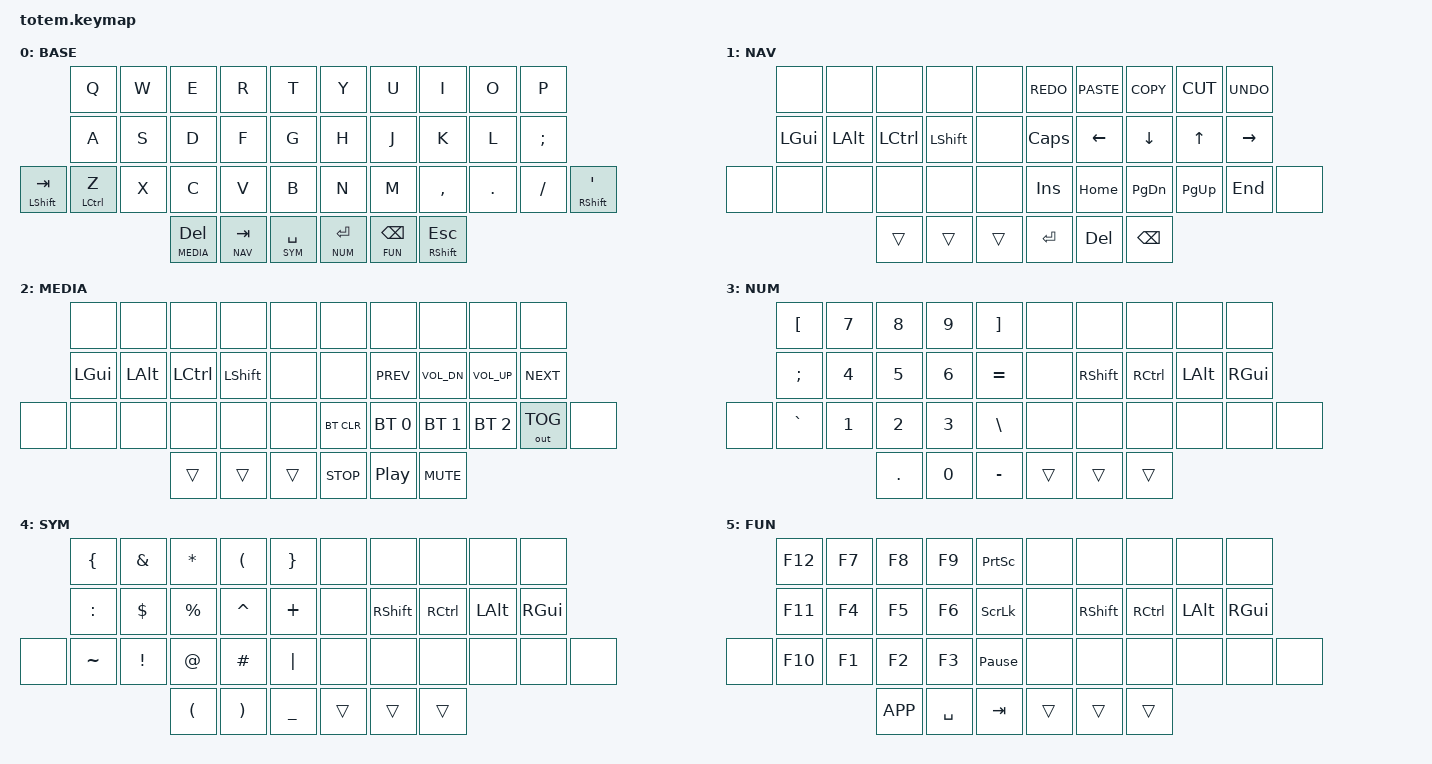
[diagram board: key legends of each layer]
//
//                                                        ▀▀▀▀▀     ▀▀▀▀▀          ▀▀█▀▀
//                                                        ▄▀▀▀▄  ▄  ▄▀▀▀▄  ▄  ▄▀▀▀▄  █  ▄▀▀▀▄
//                                                        █   █  █  █   █  █  █   █  █  █   █
//                                                         ▀▀▀   █   ▀▀▀   █   ▀▀▀   ▀   ▀▀▀
//                                                               █      ▄▄▄█▄▄▄    █   █  
//                                                               ▀      █  █  █     █▄█
//                                                             ▀▀▀▀▀    █  █  █      ▀
//                                                                      ▀  ▀  ▀
//
// ▄▄▄▄▄▄▄▄▄▄▄▄▄▄▄▄▄▄▄▄▄▄▄▄▄▄▄▄▄▄▄▄▄▄▄▄▄▄▄▄▄▄▄▄▄▄▄▄▄▄▄▄▄▄▄▄▄▄▄▄▄▄▄▄▄▄▄▄▄▄▄▄▄▄▄▄▄▄▄▄▄▄▄▄▄▄▄▄▄▄▄▄▄▄▄▄▄▄▄▄▄▄▄▄▄▄▄▄▄▄▄▄▄▄▄▄▄▄▄▄▄▄▄▄▄▄▄▄▄▄▄▄▄▄▄▄▄▄▄▄▄▄▄▄▄▄▄▄▄


#include <behaviors.dtsi>
#include <dt-bindings/zmk/keys.h>
#include <dt-bindings/zmk/bt.h>
#include <dt-bindings/zmk/outputs.h>

// Layer indices
#define BASE  0
#define NAV   1
#define MEDIA 2
#define NUM   3
#define SYM   4
#define FUN   5

/ {
    keymap {
        compatible = "zmk,keymap";
// ▄▄▄▄▄▄▄▄▄▄▄▄▄▄▄▄▄▄▄▄▄▄▄▄▄▄▄▄▄▄▄▄▄▄▄▄▄▄▄▄▄▄▄▄▄▄▄▄▄▄▄▄▄▄▄▄▄▄▄▄▄▄▄▄▄▄▄▄▄▄▄▄▄▄▄▄▄▄▄▄▄▄▄▄▄▄▄▄▄▄▄▄▄▄▄▄▄▄▄▄▄▄▄▄▄▄▄▄▄▄▄▄▄▄▄▄▄▄▄▄▄▄▄▄▄▄▄▄▄▄▄▄▄▄▄▄▄▄▄▄▄▄▄▄▄▄▄▄▄

// ┏━━━━━━━━━━━━━━━━━━━━━━━━━━━━━━━━━━━━━━━┓
// label= "BASE" (QWERTY)                  ;
// ┗━━━━━━━━━━━━━━━━━━━━━━━━━━━━━━━━━━━━━━━┛
//             ┏━━━━━━━━━━━┳━━━━━━━━━━━┳━━━━━━━━━━━┳━━━━━━━━━━━┳━━━━━━━━━━━┓   ┏━━━━━━━━━━━┳━━━━━━━━━━━┳━━━━━━━━━━━┳━━━━━━━━━━━┳━━━━━━━━━━━┓
//             ┃     Q     ┃     W     ┃     E     ┃     R     ┃     T     ┃   ┃     Y     ┃     U     ┃     I     ┃     O     ┃     P     ┃
//             ┣━━━━━━━━━━━╋━━━━━━━━━━━╋━━━━━━━━━━━╋━━━━━━━━━━━╋━━━━━━━━━━━┫   ┣━━━━━━━━━━━╋━━━━━━━━━━━╋━━━━━━━━━━━╋━━━━━━━━━━━╋━━━━━━━━━━━┫
//             ┃     A     ┃     S     ┃     D     ┃     F     ┃     G     ┃   ┃     H     ┃     J     ┃     K     ┃     L     ┃     ;     ┃
// ┏━━━━━━━━━━━╋━━━━━━━━━━━╋━━━━━━━━━━━╋━━━━━━━━━━━╋━━━━━━━━━━━╋━━━━━━━━━━━┫   ┣━━━━━━━━━━━╋━━━━━━━━━━━╋━━━━━━━━━━━╋━━━━━━━━━━━╋━━━━━━━━━━━╋━━━━━━━━━━━┓
// ┃  SFT/TAB  ┃  CTL/Z    ┃     X     ┃     C     ┃     V     ┃     B     ┃   ┃     N     ┃     M     ┃     ,     ┃     .     ┃     /     ┃  SFT/SQT  ┃
// ┗━━━━━━━━━━━┻━━━━━━━━━━━┻━━━━━━━━━━━╋━━━━━━━━━━━╋━━━━━━━━━━━╋━━━━━━━━━━━┫   ┣━━━━━━━━━━━╋━━━━━━━━━━━╋━━━━━━━━━━━╋━━━━━━━━━━━┻━━━━━━━━━━━┻━━━━━━━━━━━┛
//                                     ┃ MEDIA/DEL ┃  NAV/TAB  ┃  SYM/SPC  ┃   ┃  NUM/ENT  ┃ FUN/BSPC  ┃ SHIFT/ESC ┃
//                                     ┗━━━━━━━━━━━┻━━━━━━━━━━━┻━━━━━━━━━━━┛   ┗━━━━━━━━━━━┻━━━━━━━━━━━┻━━━━━━━━━━━┛
        base_layer {
            label = "BASE";
            bindings = <
                                      &kp Q      &kp W      &kp E      &kp R      &kp T          &kp Y      &kp U      &kp I      &kp O      &kp P
                                      &kp A      &kp S      &kp D      &kp F      &kp G          &kp H      &kp J      &kp K      &kp L      &kp SEMI
             &mt LEFT_SHIFT TAB  &mt LCTRL Z      &kp X      &kp C      &kp V      &kp B          &kp N      &kp M      &kp COMMA  &kp DOT    &kp FSLH      &mt RIGHT_SHIFT SQT
                                      &lt MEDIA DEL &lt NAV TAB &lt SYM SPC      &lt NUM RET &lt FUN BSPC &mt RSHIFT ESC
            >;
        };

// ▄▄▄▄▄▄▄▄▄▄▄▄▄▄▄▄▄▄▄▄▄▄▄▄▄▄▄▄▄▄▄▄▄▄▄▄▄▄▄▄▄▄▄▄▄▄▄▄▄▄▄▄▄▄▄▄▄▄▄▄▄▄▄▄▄▄▄▄▄▄▄▄▄▄▄▄▄▄▄▄▄▄▄▄▄▄▄▄▄▄▄▄▄▄▄▄▄▄▄▄▄▄▄▄▄▄▄▄▄▄▄▄▄▄▄▄▄▄▄▄▄▄▄▄▄▄▄▄▄▄▄▄▄▄▄▄▄▄▄▄▄▄▄▄▄▄▄▄▄

// ┏━━━━━━━━━━━━━━━━━━━━━━━━━━━━━━━━━━━━━━━┓
// label= "NAV"                            ;
// ┗━━━━━━━━━━━━━━━━━━━━━━━━━━━━━━━━━━━━━━━┛
//             ┏━━━━━━━━━━━┳━━━━━━━━━━━┳━━━━━━━━━━━┳━━━━━━━━━━━┳━━━━━━━━━━━┓   ┏━━━━━━━━━━━┳━━━━━━━━━━━┳━━━━━━━━━━━┳━━━━━━━━━━━┳━━━━━━━━━━━┓
//             ┃           ┃           ┃           ┃           ┃           ┃   ┃   REDO    ┃   PASTE   ┃   COPY    ┃    CUT    ┃   UNDO    ┃
//             ┣━━━━━━━━━━━╋━━━━━━━━━━━╋━━━━━━━━━━━╋━━━━━━━━━━━╋━━━━━━━━━━━┫   ┣━━━━━━━━━━━╋━━━━━━━━━━━╋━━━━━━━━━━━╋━━━━━━━━━━━╋━━━━━━━━━━━┫
//             ┃    GUI    ┃    ALT    ┃    CTRL   ┃   SHIFT   ┃           ┃   ┃   CAPS    ┃   LEFT    ┃   DOWN    ┃    UP     ┃   RIGHT   ┃
// ┏━━━━━━━━━━━╋━━━━━━━━━━━╋━━━━━━━━━━━╋━━━━━━━━━━━╋━━━━━━━━━━━╋━━━━━━━━━━━┫   ┣━━━━━━━━━━━╋━━━━━━━━━━━╋━━━━━━━━━━━╋━━━━━━━━━━━╋━━━━━━━━━━━╋━━━━━━━━━━━┓
// ┃           ┃           ┃           ┃           ┃           ┃           ┃   ┃    INS    ┃   HOME    ┃   PG_DN   ┃   PG_UP   ┃    END    ┃           ┃
// ┗━━━━━━━━━━━┻━━━━━━━━━━━┻━━━━━━━━━━━╋━━━━━━━━━━━╋━━━━━━━━━━━╋━━━━━━━━━━━┫   ┣━━━━━━━━━━━╋━━━━━━━━━━━╋━━━━━━━━━━━╋━━━━━━━━━━━┻━━━━━━━━━━━┻━━━━━━━━━━━┛
//                                     ┃           ┃           ┃           ┃   ┃   ENTER   ┃    DEL    ┃   BSPC    ┃
//                                     ┗━━━━━━━━━━━┻━━━━━━━━━━━┻━━━━━━━━━━━┛   ┗━━━━━━━━━━━┻━━━━━━━━━━━┻━━━━━━━━━━━┛
        nav_layer {
            label = "NAV";
            bindings = <
                &none        &none        &none        &none        &none              &kp K_REDO   &kp K_PASTE  &kp K_COPY   &kp K_CUT    &kp K_UNDO
                &kp LGUI     &kp LALT     &kp LCTRL    &kp LSHFT    &none              &kp CAPS     &kp LEFT     &kp DOWN     &kp UP       &kp RIGHT
    &none       &none        &none        &none        &none        &none              &kp INS      &kp HOME     &kp PG_DN    &kp PG_UP    &kp END      &none
                                          &trans       &trans       &trans             &kp RET      &kp DEL      &kp BSPC
            >;
        };

// ▄▄▄▄▄▄▄▄▄▄▄▄▄▄▄▄▄▄▄▄▄▄▄▄▄▄▄▄▄▄▄▄▄▄▄▄▄▄▄▄▄▄▄▄▄▄▄▄▄▄▄▄▄▄▄▄▄▄▄▄▄▄▄▄▄▄▄▄▄▄▄▄▄▄▄▄▄▄▄▄▄▄▄▄▄▄▄▄▄▄▄▄▄▄▄▄▄▄▄▄▄▄▄▄▄▄▄▄▄▄▄▄▄▄▄▄▄▄▄▄▄▄▄▄▄▄▄▄▄▄▄▄▄▄▄▄▄▄▄▄▄▄▄▄▄▄▄▄▄

// ┏━━━━━━━━━━━━━━━━━━━━━━━━━━━━━━━━━━━━━━━┓
// label= "MEDIA"                          ;
// ┗━━━━━━━━━━━━━━━━━━━━━━━━━━━━━━━━━━━━━━━┛
//             ┏━━━━━━━━━━━┳━━━━━━━━━━━┳━━━━━━━━━━━┳━━━━━━━━━━━┳━━━━━━━━━━━┓   ┏━━━━━━━━━━━┳━━━━━━━━━━━┳━━━━━━━━━━━┳━━━━━━━━━━━┳━━━━━━━━━━━┓
//             ┃           ┃           ┃           ┃           ┃           ┃   ┃           ┃           ┃           ┃           ┃           ┃
//             ┣━━━━━━━━━━━╋━━━━━━━━━━━╋━━━━━━━━━━━╋━━━━━━━━━━━╋━━━━━━━━━━━┫   ┣━━━━━━━━━━━╋━━━━━━━━━━━╋━━━━━━━━━━━╋━━━━━━━━━━━╋━━━━━━━━━━━┫
//             ┃    GUI    ┃    ALT    ┃    CTRL   ┃   SHIFT   ┃           ┃   ┃           ┃   PREV    ┃   VOL_DN  ┃   VOL_UP  ┃   NEXT    ┃
// ┏━━━━━━━━━━━╋━━━━━━━━━━━╋━━━━━━━━━━━╋━━━━━━━━━━━╋━━━━━━━━━━━╋━━━━━━━━━━━┫   ┣━━━━━━━━━━━╋━━━━━━━━━━━╋━━━━━━━━━━━╋━━━━━━━━━━━╋━━━━━━━━━━━╋━━━━━━━━━━━┓
// ┃           ┃           ┃           ┃           ┃           ┃           ┃   ┃  BT_CLR   ┃   BT_0    ┃   BT_1    ┃   BT_2    ┃  OUT_TOG  ┃           ┃
// ┗━━━━━━━━━━━┻━━━━━━━━━━━┻━━━━━━━━━━━╋━━━━━━━━━━━╋━━━━━━━━━━━╋━━━━━━━━━━━┫   ┣━━━━━━━━━━━╋━━━━━━━━━━━╋━━━━━━━━━━━╋━━━━━━━━━━━┻━━━━━━━━━━━┻━━━━━━━━━━━┛
//                                     ┃           ┃           ┃           ┃   ┃   STOP    ┃ PlayPause ┃   MUTE    ┃
//                                     ┗━━━━━━━━━━━┻━━━━━━━━━━━┻━━━━━━━━━━━┛   ┗━━━━━━━━━━━┻━━━━━━━━━━━┻━━━━━━━━━━━┛
        media_layer {
            label = "MEDIA";
            bindings = <
                &none        &none        &none        &none        &none              &none        &none        &none        &none        &none
                &kp LGUI     &kp LALT     &kp LCTRL    &kp LSHFT    &none              &none        &kp C_PREV   &kp C_VOL_DN &kp C_VOL_UP &kp C_NEXT
    &none       &none        &none        &none        &none        &none              &bt BT_CLR   &bt BT_SEL 0 &bt BT_SEL 1 &bt BT_SEL 2 &out OUT_TOG &none
                                          &trans       &trans       &trans             &kp C_STOP   &kp C_PP     &kp C_MUTE
            >;
        };

// ▄▄▄▄▄▄▄▄▄▄▄▄▄▄▄▄▄▄▄▄▄▄▄▄▄▄▄▄▄▄▄▄▄▄▄▄▄▄▄▄▄▄▄▄▄▄▄▄▄▄▄▄▄▄▄▄▄▄▄▄▄▄▄▄▄▄▄▄▄▄▄▄▄▄▄▄▄▄▄▄▄▄▄▄▄▄▄▄▄▄▄▄▄▄▄▄▄▄▄▄▄▄▄▄▄▄▄▄▄▄▄▄▄▄▄▄▄▄▄▄▄▄▄▄▄▄▄▄▄▄▄▄▄▄▄▄▄▄▄▄▄▄▄▄▄▄▄▄▄

// ┏━━━━━━━━━━━━━━━━━━━━━━━━━━━━━━━━━━━━━━━┓
// label= "NUM"                            ;
// ┗━━━━━━━━━━━━━━━━━━━━━━━━━━━━━━━━━━━━━━━┛
//             ┏━━━━━━━━━━━┳━━━━━━━━━━━┳━━━━━━━━━━━┳━━━━━━━━━━━┳━━━━━━━━━━━┓   ┏━━━━━━━━━━━┳━━━━━━━━━━━┳━━━━━━━━━━━┳━━━━━━━━━━━┳━━━━━━━━━━━┓
//             ┃     [     ┃     7     ┃     8     ┃     9     ┃     ]     ┃   ┃           ┃           ┃           ┃           ┃           ┃
//             ┣━━━━━━━━━━━╋━━━━━━━━━━━╋━━━━━━━━━━━╋━━━━━━━━━━━╋━━━━━━━━━━━┫   ┣━━━━━━━━━━━╋━━━━━━━━━━━╋━━━━━━━━━━━╋━━━━━━━━━━━╋━━━━━━━━━━━┫
//             ┃     ;     ┃     4     ┃     5     ┃     6     ┃     =     ┃   ┃           ┃   SHIFT   ┃   CTRL    ┃    ALT    ┃    GUI    ┃
// ┏━━━━━━━━━━━╋━━━━━━━━━━━╋━━━━━━━━━━━╋━━━━━━━━━━━╋━━━━━━━━━━━╋━━━━━━━━━━━┫   ┣━━━━━━━━━━━╋━━━━━━━━━━━╋━━━━━━━━━━━╋━━━━━━━━━━━╋━━━━━━━━━━━╋━━━━━━━━━━━┓
// ┃           ┃     `     ┃     1     ┃     2     ┃     3     ┃     \     ┃   ┃           ┃           ┃           ┃           ┃           ┃           ┃
// ┗━━━━━━━━━━━┻━━━━━━━━━━━┻━━━━━━━━━━━╋━━━━━━━━━━━╋━━━━━━━━━━━╋━━━━━━━━━━━┫   ┣━━━━━━━━━━━╋━━━━━━━━━━━╋━━━━━━━━━━━╋━━━━━━━━━━━┻━━━━━━━━━━━┻━━━━━━━━━━━┛
//                                     ┃     .     ┃     0     ┃     -     ┃   ┃           ┃           ┃           ┃
//                                     ┗━━━━━━━━━━━┻━━━━━━━━━━━┻━━━━━━━━━━━┛   ┗━━━━━━━━━━━┻━━━━━━━━━━━┻━━━━━━━━━━━┛
        num_layer {
            label = "NUM";
            bindings = <
                &kp LBKT     &kp N7       &kp N8       &kp N9       &kp RBKT           &none        &none        &none        &none        &none
                &kp SEMI     &kp N4       &kp N5       &kp N6       &kp EQUAL          &none        &kp RSHFT    &kp RCTRL    &kp LALT     &kp RGUI
    &none       &kp GRAVE    &kp N1       &kp N2       &kp N3       &kp BSLH           &none        &none        &none        &none        &none        &none
                                          &kp DOT      &kp N0       &kp MINUS          &trans       &trans       &trans
            >;
        };

// ▄▄▄▄▄▄▄▄▄▄▄▄▄▄▄▄▄▄▄▄▄▄▄▄▄▄▄▄▄▄▄▄▄▄▄▄▄▄▄▄▄▄▄▄▄▄▄▄▄▄▄▄▄▄▄▄▄▄▄▄▄▄▄▄▄▄▄▄▄▄▄▄▄▄▄▄▄▄▄▄▄▄▄▄▄▄▄▄▄▄▄▄▄▄▄▄▄▄▄▄▄▄▄▄▄▄▄▄▄▄▄▄▄▄▄▄▄▄▄▄▄▄▄▄▄▄▄▄▄▄▄▄▄▄▄▄▄▄▄▄▄▄▄▄▄▄▄▄▄

// ┏━━━━━━━━━━━━━━━━━━━━━━━━━━━━━━━━━━━━━━━┓
// label= "SYM"                            ;
// ┗━━━━━━━━━━━━━━━━━━━━━━━━━━━━━━━━━━━━━━━┛
//             ┏━━━━━━━━━━━┳━━━━━━━━━━━┳━━━━━━━━━━━┳━━━━━━━━━━━┳━━━━━━━━━━━┓   ┏━━━━━━━━━━━┳━━━━━━━━━━━┳━━━━━━━━━━━┳━━━━━━━━━━━┳━━━━━━━━━━━┓
//             ┃     {     ┃     &     ┃     *     ┃     (     ┃     }     ┃   ┃           ┃           ┃           ┃           ┃           ┃
//             ┣━━━━━━━━━━━╋━━━━━━━━━━━╋━━━━━━━━━━━╋━━━━━━━━━━━╋━━━━━━━━━━━┫   ┣━━━━━━━━━━━╋━━━━━━━━━━━╋━━━━━━━━━━━╋━━━━━━━━━━━╋━━━━━━━━━━━┫
//             ┃     :     ┃     $     ┃     %     ┃     ^     ┃     +     ┃   ┃           ┃   SHIFT   ┃   CTRL    ┃    ALT    ┃    GUI    ┃
// ┏━━━━━━━━━━━╋━━━━━━━━━━━╋━━━━━━━━━━━╋━━━━━━━━━━━╋━━━━━━━━━━━╋━━━━━━━━━━━┫   ┣━━━━━━━━━━━╋━━━━━━━━━━━╋━━━━━━━━━━━╋━━━━━━━━━━━╋━━━━━━━━━━━╋━━━━━━━━━━━┓
// ┃           ┃     ~     ┃     !     ┃     @     ┃     #     ┃     |     ┃   ┃           ┃           ┃           ┃           ┃           ┃           ┃
// ┗━━━━━━━━━━━┻━━━━━━━━━━━┻━━━━━━━━━━━╋━━━━━━━━━━━╋━━━━━━━━━━━╋━━━━━━━━━━━┫   ┣━━━━━━━━━━━╋━━━━━━━━━━━╋━━━━━━━━━━━╋━━━━━━━━━━━┻━━━━━━━━━━━┻━━━━━━━━━━━┛
//                                     ┃     (     ┃     )     ┃     _     ┃   ┃           ┃           ┃           ┃
//                                     ┗━━━━━━━━━━━┻━━━━━━━━━━━┻━━━━━━━━━━━┛   ┗━━━━━━━━━━━┻━━━━━━━━━━━┻━━━━━━━━━━━┛
        sym_layer {
            label = "SYM";
            bindings = <
                &kp LBRC     &kp AMPS     &kp ASTRK    &kp LPAR     &kp RBRC           &none        &none        &none        &none        &none
                &kp COLON    &kp DLLR     &kp PRCNT    &kp CARET    &kp PLUS           &none        &kp RSHFT    &kp RCTRL    &kp LALT     &kp RGUI
    &none       &kp TILDE    &kp EXCL     &kp AT       &kp HASH     &kp PIPE           &none        &none        &none        &none        &none        &none
                                          &kp LPAR     &kp RPAR     &kp UNDER          &trans       &trans       &trans
            >;
        };

// ▄▄▄▄▄▄▄▄▄▄▄▄▄▄▄▄▄▄▄▄▄▄▄▄▄▄▄▄▄▄▄▄▄▄▄▄▄▄▄▄▄▄▄▄▄▄▄▄▄▄▄▄▄▄▄▄▄▄▄▄▄▄▄▄▄▄▄▄▄▄▄▄▄▄▄▄▄▄▄▄▄▄▄▄▄▄▄▄▄▄▄▄▄▄▄▄▄▄▄▄▄▄▄▄▄▄▄▄▄▄▄▄▄▄▄▄▄▄▄▄▄▄▄▄▄▄▄▄▄▄▄▄▄▄▄▄▄▄▄▄▄▄▄▄▄▄▄▄▄

// ┏━━━━━━━━━━━━━━━━━━━━━━━━━━━━━━━━━━━━━━━┓
// label= "FUN"                            ;
// ┗━━━━━━━━━━━━━━━━━━━━━━━━━━━━━━━━━━━━━━━┛
//             ┏━━━━━━━━━━━┳━━━━━━━━━━━┳━━━━━━━━━━━┳━━━━━━━━━━━┳━━━━━━━━━━━┓   ┏━━━━━━━━━━━┳━━━━━━━━━━━┳━━━━━━━━━━━┳━━━━━━━━━━━┳━━━━━━━━━━━┓
//             ┃    F12    ┃    F7     ┃    F8     ┃    F9     ┃   PSCRN   ┃   ┃           ┃           ┃           ┃           ┃           ┃
//             ┣━━━━━━━━━━━╋━━━━━━━━━━━╋━━━━━━━━━━━╋━━━━━━━━━━━╋━━━━━━━━━━━┫   ┣━━━━━━━━━━━╋━━━━━━━━━━━╋━━━━━━━━━━━╋━━━━━━━━━━━╋━━━━━━━━━━━┫
//             ┃    F11    ┃    F4     ┃    F5     ┃    F6     ┃   SLCK    ┃   ┃           ┃   SHIFT   ┃   CTRL    ┃    ALT    ┃    GUI    ┃
// ┏━━━━━━━━━━━╋━━━━━━━━━━━╋━━━━━━━━━━━╋━━━━━━━━━━━╋━━━━━━━━━━━╋━━━━━━━━━━━┫   ┣━━━━━━━━━━━╋━━━━━━━━━━━╋━━━━━━━━━━━╋━━━━━━━━━━━╋━━━━━━━━━━━╋━━━━━━━━━━━┓
// ┃           ┃    F10    ┃    F1     ┃    F2     ┃    F3     ┃   PAUSE   ┃   ┃           ┃           ┃           ┃           ┃           ┃           ┃
// ┗━━━━━━━━━━━┻━━━━━━━━━━━┻━━━━━━━━━━━╋━━━━━━━━━━━╋━━━━━━━━━━━╋━━━━━━━━━━━┫   ┣━━━━━━━━━━━╋━━━━━━━━━━━╋━━━━━━━━━━━╋━━━━━━━━━━━┻━━━━━━━━━━━┻━━━━━━━━━━━┛
//                                     ┃    APP    ┃    SPC    ┃    TAB    ┃   ┃           ┃           ┃           ┃
//                                     ┗━━━━━━━━━━━┻━━━━━━━━━━━┻━━━━━━━━━━━┛   ┗━━━━━━━━━━━┻━━━━━━━━━━━┻━━━━━━━━━━━┛
        fun_layer {
            label = "FUN";
            bindings = <
                &kp F12      &kp F7       &kp F8       &kp F9       &kp PSCRN          &none        &none        &none        &none        &none
                &kp F11      &kp F4       &kp F5       &kp F6       &kp SLCK           &none        &kp RSHFT    &kp RCTRL    &kp LALT     &kp RGUI
    &none       &kp F10      &kp F1       &kp F2       &kp F3       &kp PAUSE_BREAK    &none        &none        &none        &none        &none        &none
                                          &kp K_APP    &kp SPACE    &kp TAB            &trans       &trans       &trans
            >;
        };
    };
};
